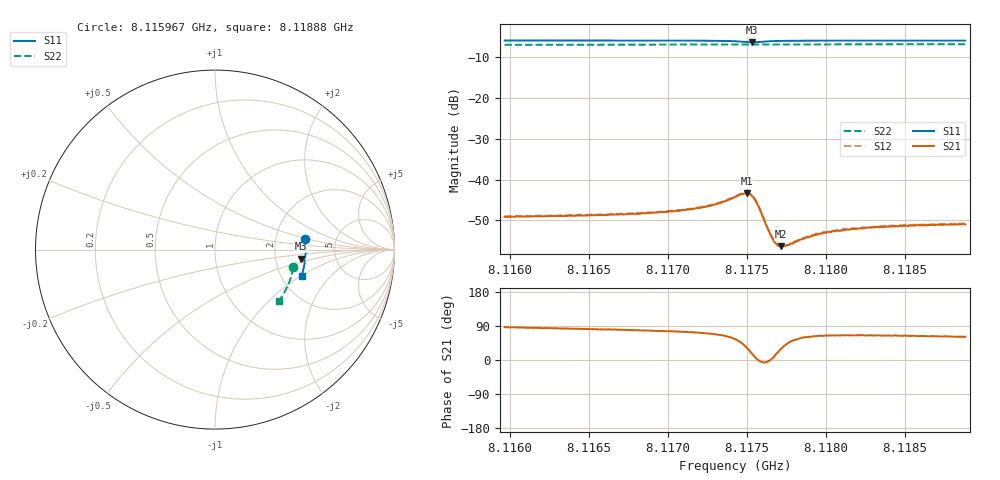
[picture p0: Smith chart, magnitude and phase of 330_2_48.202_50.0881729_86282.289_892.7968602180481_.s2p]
#  HZ  S  RI  R  50.00
! Rohde & Schwarz Vector Network Analyzer
! Rohde-Schwarz,ZNB20-2Port,1311601062101988,3.16
! Created: UTC 3/20/2024, 11:50:51 AM
! freq[Hz]  re:S11  im:S11  re:S21  im:S21  re:S12  im:S12  re:S22  im:S22
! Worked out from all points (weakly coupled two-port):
!   401 points, 8.115967 GHz to 8.11888 GHz, reference 50 ohm
!   highest |S21| = -43.35 dB at 8.117496 GHz (marker M1); lowest = -56.3 dB at 8.117715 GHz (marker M2)
!   lowest |S11| = -6.4 dB at 8.117533 GHz (marker M3), VSWR 2.86, Z = 140 - j18.5 ohm
!   |S11| at or under -10 dB: nowhere
!   |S22| runs from -7.0 to -6.8 dB; largest |S21 - S12| = 0.00019
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8.1159667e9  0.5038 0.0606  0.000185 0.00349  0.000268 0.00352  0.4374 -0.099
8.1164547e9  0.5062 0.0239  0.000485 0.00358  0.000549 0.00363  0.4299 -0.1321
8.1169427e9  0.5057 -0.0135  0.000923 0.00385  0.000987 0.00388  0.42 -0.1644
8.1170884e9  0.5046 -0.0253  0.00114 0.00403  0.00119 0.00406  0.4165 -0.174
8.1172341e9  0.5026 -0.0378  0.00153 0.00436  0.00159 0.00444  0.4128 -0.1837
8.1173288e9  0.4998 -0.0468  0.00208 0.00471  0.00217 0.00476  0.4102 -0.1899
8.1174235e9  0.4932 -0.0561  0.0035 0.00498  0.00362 0.00507  0.4073 -0.196
8.1174672e9  0.4868 -0.0585  0.00478 0.0046  0.0049 0.00467  0.4058 -0.1986
8.1174963e9  0.4818 -0.0571  0.00569 0.00372  0.00585 0.00371  0.405 -0.2003
8.1175328e9  0.4787 -0.0507  0.00604 0.0017  0.00615 0.00164  0.4037 -0.2021
8.1175692e9  0.4829 -0.0449  0.00479 2.21e-05  0.00487 -3.8e-05  0.403 -0.2041
8.1176347e9  0.4934 -0.0474  0.00241 -0.000134  0.00243 -0.000166  0.4016 -0.2083
8.1176639e9  0.4958 -0.0506  0.00184 0.000185  0.00184 0.000184  0.401 -0.2103
8.1176857e9  0.4969 -0.0532  0.00155 0.000461  0.00156 0.000414  0.4004 -0.2117
8.1177149e9  0.4981 -0.0565  0.00131 0.000768  0.00137 0.000744  0.3994 -0.2136
8.1177586e9  0.4988 -0.0612  0.00112 0.0011  0.00112 0.00112  0.3981 -0.2164
8.117846e9  0.499 -0.0696  0.000974 0.00158  0.00103 0.00161  0.3954 -0.222
8.1179115e9  0.4987 -0.0755  0.000969 0.0018  0.000992 0.00185  0.3932 -0.2261
8.1179989e9  0.4977 -0.0828  0.000937 0.00202  0.000999 0.00201  0.3904 -0.2314
8.1181228e9  0.4961 -0.0927  0.00101 0.00219  0.00105 0.0022  0.3863 -0.2392
8.1183995e9  0.4917 -0.1137  0.00115 0.00242  0.00119 0.00243  0.3764 -0.2559
8.1188803e9  0.482 -0.1486  0.00133 0.00247  0.00142 0.00251  0.3575 -0.2839
